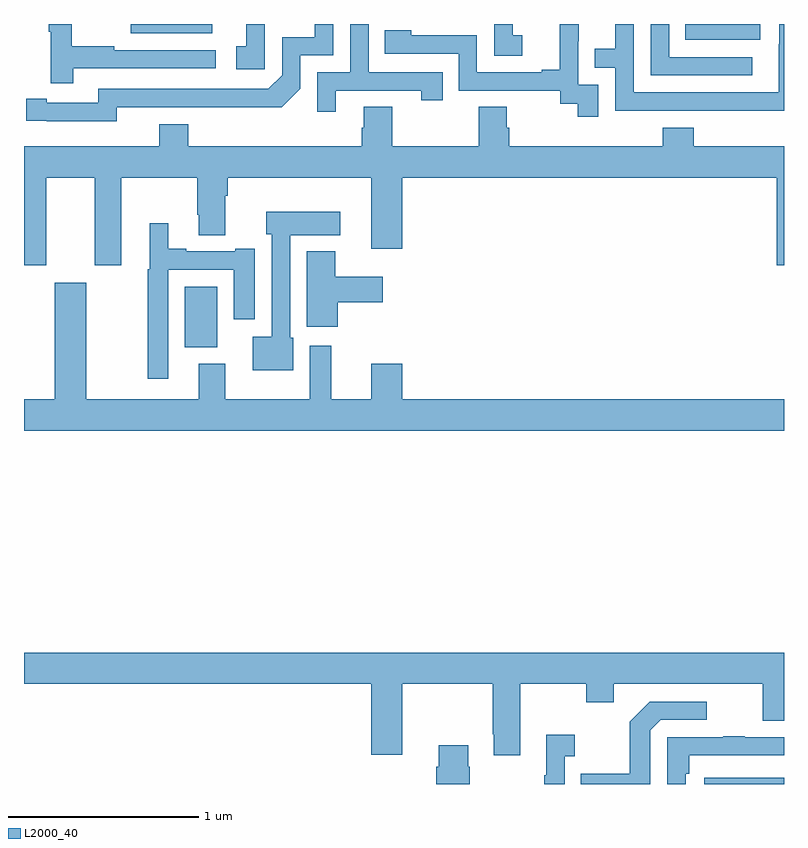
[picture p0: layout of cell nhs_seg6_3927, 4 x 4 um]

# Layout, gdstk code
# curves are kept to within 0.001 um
import gdstk
lib = gdstk.Library(unit=1e-6, precision=1e-09)
def R(c, l, rs):  # rectangles x0, y0, x1, y1
    for r in rs: c.add(gdstk.rectangle(r[:2], r[2:], *l))
def P(c, l, *ps):  # polygons
    for p in ps: c.add(gdstk.Polygon(p, *l))
L2000_40 = (2000, 40)

nhs_seg6_3927 = lib.new_cell('nhs_seg6_3927')
R(nhs_seg6_3927, L2000_40, [(346.581,921.5,347,921.534), (343.847,923.798,344.017,924.118), (346.48,925.418,346.876,925.5), (343.563,925.451,343.99,925.5)])
P(nhs_seg6_3927, L2000_40, [(346.023,925.179),(345.918,925.179),(345.918,925.409),(345.92,925.409),(345.92,925.5),(345.821,925.5),(345.821,925.258),(345.725,925.258),(345.725,925.245),(345.384,925.245),(345.384,925.44),(345.039,925.44),(345.039,925.467),(344.899,925.467),(344.899,925.344),(345.288,925.344),(345.288,925.149),(345.822,925.149),(345.822,925.081),(345.915,925.081),(345.915,925.011),(346.023,925.011)],
  [(344.641,925.149),(345.092,925.149),(345.092,925.098),(345.203,925.098),(345.203,925.245),(344.814,925.245),(344.814,925.5),(344.718,925.5),(344.718,925.245),(344.544,925.245),(344.544,925.038),(344.641,925.038)],
  [(345.622,925.441),(345.573,925.441),(345.573,925.5),(345.474,925.5),(345.474,925.332),(345.622,925.332)],
  [(347,925.5),(346.974,925.5),(346.974,925.394),(346.973,925.394),(346.973,925.14),(346.209,925.14),(346.209,925.5),(346.113,925.5),(346.113,925.37),(346.003,925.37),(346.003,925.269),(346.113,925.269),(346.113,925.044),(346.609,925.044),(346.609,925.043),(347,925.043)],
  [(344.268,925.5),(344.171,925.5),(344.171,925.383),(344.118,925.383),(344.118,925.263),(344.268,925.263)],
  [(343.488,925.062),(344.356,925.061),(344.454,925.158),(344.454,925.335),(344.628,925.335),(344.628,925.5),(344.531,925.5),(344.531,925.431),(344.358,925.431),(344.358,925.23),(344.286,925.158),(343.392,925.158),(343.392,925.086),(343.12,925.086),(343.12,925.106),(343.012,925.106),(343.012,924.99),(343.488,924.989)],
  [(343.259,925.266),(344.008,925.266),(344.008,925.362),(343.475,925.362),(343.475,925.382),(343.252,925.382),(343.252,925.5),(343.131,925.5),(343.131,925.459),(343.142,925.459),(343.142,925.188),(343.259,925.188)],
  [(346.834,925.326),(346.395,925.326),(346.395,925.5),(346.299,925.5),(346.299,925.23),(346.834,925.23)],
  [(343,924.231),(343.117,924.231),(343.117,924.692),(343.373,924.692),(343.373,924.231),(343.513,924.231),(343.513,924.692),(343.912,924.692),(343.912,924.496),(343.919,924.496),(343.919,924.388),(344.059,924.388),(344.059,924.596),(344.072,924.596),(344.072,924.692),(344.828,924.692),(344.828,924.318),(344.992,924.318),(344.992,924.692),(346.961,924.692),(346.961,924.231),(347,924.231),(347,924.856),(346.526,924.856),(346.526,924.955),(346.361,924.955),(346.361,924.856),(345.554,924.856),(345.554,924.954),(345.541,924.954),(345.541,925.064),(345.394,925.064),(345.394,924.856),(344.937,924.856),(344.937,925.064),(344.789,925.064),(344.789,924.954),(344.777,924.954),(344.777,924.856),(343.865,924.856),(343.865,924.973),(343.712,924.973),(343.712,924.856),(343,924.856)],
  [(344.416,923.85),(344.4,923.85),(344.4,924.389),(344.665,924.389),(344.665,924.511),(344.276,924.511),(344.276,924.393),(344.304,924.393),(344.304,923.854),(344.204,923.854),(344.204,923.678),(344.416,923.678)],
  [(343.758,924.207),(344.105,924.207),(344.105,923.946),(344.215,923.946),(344.215,924.316),(344.111,924.316),(344.111,924.303),(343.855,924.303),(343.855,924.316),(343.759,924.316),(343.759,924.451),(343.661,924.451),(343.661,924.21),(343.65,924.21),(343.65,923.634),(343.758,923.634)],
  [(344.651,924.035),(344.887,924.035),(344.887,924.169),(344.638,924.169),(344.638,924.304),(344.489,924.304),(344.489,923.907),(344.651,923.907)],
  [(347,923.524),(344.992,923.524),(344.992,923.713),(344.828,923.713),(344.828,923.524),(344.617,923.524),(344.617,923.806),(344.504,923.806),(344.504,923.524),(344.059,923.524),(344.059,923.713),(343.919,923.713),(343.919,923.524),(343.327,923.524),(343.327,924.139),(343.163,924.139),(343.163,923.524),(343,923.524),(343,923.36),(347,923.36)],
  [(343,922.028),(344.828,922.028),(344.828,921.654),(344.992,921.654),(344.992,922.028),(345.466,922.028),(345.466,921.763),(345.473,921.763),(345.473,921.651),(345.613,921.651),(345.613,922.028),(345.958,922.028),(345.958,921.929),(346.105,921.929),(346.105,922.028),(346.889,922.028),(346.889,921.834),(347,921.834),(347,922.192),(343,922.192)],
  [(346.296,921.783),(346.35,921.837),(346.594,921.837),(346.594,921.933),(346.293,921.933),(346.188,921.827),(346.188,921.555),(345.931,921.555),(345.931,921.5),(346.296,921.5)],
  [(345.846,921.647),(345.898,921.647),(345.898,921.76),(345.749,921.76),(345.749,921.547),(345.738,921.547),(345.738,921.5),(345.846,921.5)],
  [(346.482,921.554),(346.502,921.554),(346.502,921.651),(347,921.651),(347,921.747),(346.793,921.747),(346.793,921.752),(346.681,921.752),(346.681,921.747),(346.386,921.747),(346.386,921.5),(346.482,921.5)],
  [(345.345,921.59),(345.337,921.59),(345.337,921.703),(345.182,921.703),(345.182,921.59),(345.17,921.59),(345.17,921.5),(345.345,921.5)])

lib.write_gds('nhs_seg6_3927.gds')
